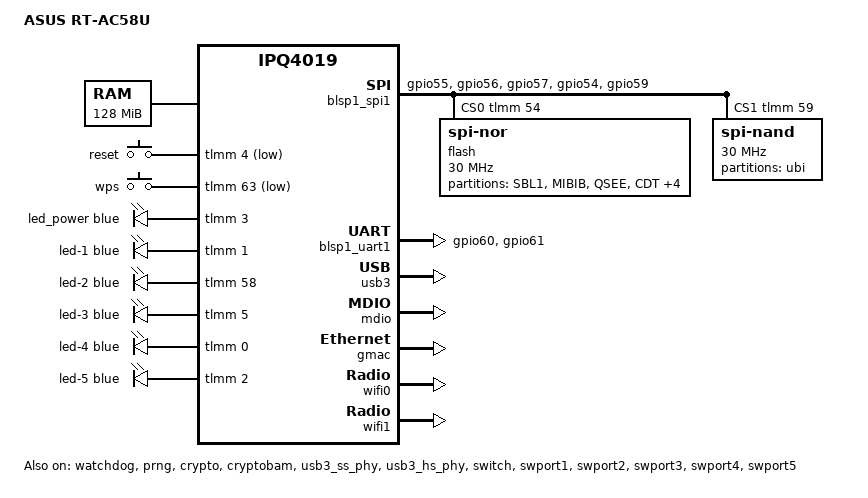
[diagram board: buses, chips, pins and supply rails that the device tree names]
// SPDX-License-Identifier: GPL-2.0-or-later OR MIT

#include "qcom-ipq4019.dtsi"
#include <dt-bindings/gpio/gpio.h>
#include <dt-bindings/input/input.h>
#include <dt-bindings/soc/qcom,tcsr.h>
#include <dt-bindings/leds/common.h>

/ {
	model = "ASUS RT-AC58U";
	compatible = "asus,rt-ac58u";

	memory {
		device_type = "memory";
		reg = <0x80000000 0x8000000>;
	};

	aliases {
		led-boot = &led_power;
		led-failsafe = &led_power;
		led-running = &led_power;
		led-upgrade = &led_power;
		label-mac-device = &swport5;
	};

	soc {
		tcsr@1949000 {
			compatible = "qcom,tcsr";
			reg = <0x1949000 0x100>;
			qcom,wifi_glb_cfg = <TCSR_WIFI_GLB_CFG>;
		};

		tcsr@194b000 {
			compatible = "qcom,tcsr";
			reg = <0x194b000 0x100>;
			qcom,usb-hsphy-mode-select = <TCSR_USB_HSPHY_HOST_MODE>;
		};

		ess_tcsr@1953000 {
			compatible = "qcom,tcsr";
			reg = <0x1953000 0x1000>;
			qcom,ess-interface-select = <TCSR_ESS_PSGMII>;
		};

		tcsr@1957000 {
			compatible = "qcom,tcsr";
			reg = <0x1957000 0x100>;
			qcom,wifi_noc_memtype_m0_m2 = <TCSR_WIFI_NOC_MEMTYPE_M0_M2>;
		};
	};

	keys {
		compatible = "gpio-keys";

		reset {
			label = "reset";
			gpios = <&tlmm 4 GPIO_ACTIVE_LOW>;
			linux,code = <KEY_RESTART>;
		};

		wps {
			label = "wps";
			gpios = <&tlmm 63 GPIO_ACTIVE_LOW>;
			linux,code = <KEY_WPS_BUTTON>;
		};
	};

	leds {
		compatible = "gpio-leds";

		led_power: led-0 {
			color = <LED_COLOR_ID_BLUE>;
			function = LED_FUNCTION_POWER;
			gpios = <&tlmm 3 GPIO_ACTIVE_HIGH>;
			panic-indicator;
		};

		led-1 {
			color = <LED_COLOR_ID_BLUE>;
			function = LED_FUNCTION_WAN;
			gpios = <&tlmm 1 GPIO_ACTIVE_HIGH>;
			/*
			 * linux,default-trigger = "90000.mdio-1:04:link";
			 * sadly still lacks rx+tx
			 */
		};

		led-2 {
			color = <LED_COLOR_ID_BLUE>;
			function = LED_FUNCTION_WLAN;
			function-enumerator = <2>;
			gpios = <&tlmm 58 GPIO_ACTIVE_HIGH>;
			linux,default-trigger = "phy0tpt";
		};

		led-3 {
			color = <LED_COLOR_ID_BLUE>;
			function = LED_FUNCTION_WLAN;
			function-enumerator = <5>;
			gpios = <&tlmm 5 GPIO_ACTIVE_HIGH>;
			linux,default-trigger = "phy1tpt";
		};

		led-4 {
			color = <LED_COLOR_ID_BLUE>;
			function = LED_FUNCTION_USB;
			gpios = <&tlmm 0 GPIO_ACTIVE_HIGH>;
			trigger-sources = <&usb3_port1>, <&usb3_port2>;
			linux,default-trigger = "usbport";
		};

		led-5 {
			color = <LED_COLOR_ID_BLUE>;
			function = LED_FUNCTION_LAN;
			gpios = <&tlmm 2 GPIO_ACTIVE_HIGH>;
		};
	};
};

&watchdog {
	status = "okay";
};

&prng {
	status = "okay";
};

&crypto {
	status = "okay";
};

&cryptobam {
	status = "okay";
};

&blsp_dma {
	status = "okay";
};

&tlmm {
	serial_pins: serial_pinmux {
		mux {
			pins = "gpio60", "gpio61";
			function = "blsp_uart0";
			bias-disable;
		};
	};

	spi_0_pins: spi_0_pinmux {
		mux {
			function = "blsp_spi0";
			pins = "gpio55", "gpio56", "gpio57";
			drive-strength = <12>;
			bias-disable;
		};

		mux_cs {
			function = "gpio";
			pins = "gpio54", "gpio59";
			drive-strength = <2>;
			bias-disable;
			output-high;
		};
	};
};

&blsp1_spi1 { /* BLSP1 QUP1 */
	pinctrl-0 = <&spi_0_pins>;
	pinctrl-names = "default";
	status = "okay";
	cs-gpios = <&tlmm 54 GPIO_ACTIVE_HIGH>,
		   <&tlmm 59 GPIO_ACTIVE_HIGH>;

	flash@0 {
		/*
		 * U-boot looks for "n25q128a11" node,
		 * if we don't have it, it will spit out the following warning:
		 * "ipq: fdt fixup unable to find compatible node".
		 */
		compatible = "jedec,spi-nor";
		reg = <0>;
		linux,modalias = "m25p80", "mx25l1606e", "n25q128a11";
		spi-max-frequency = <30000000>;

		partitions {
			compatible = "fixed-partitions";
			#address-cells = <1>;
			#size-cells = <1>;

			partition@0 {
				label = "SBL1";
				reg = <0x00000000 0x00040000>;
				read-only;
			};
			partition@40000 {
				label = "MIBIB";
				reg = <0x00040000 0x00020000>;
				read-only;
			};
			partition@60000 {
				label = "QSEE";
				reg = <0x00060000 0x00060000>;
				read-only;
			};
			partition@c0000 {
				label = "CDT";
				reg = <0x000c0000 0x00010000>;
				read-only;
			};
			partition@d0000 {
				label = "DDRPARAMS";
				reg = <0x000d0000 0x00010000>;
				read-only;
			};
			partition@e0000 {
				label = "APPSBLENV"; /* uboot env*/
				reg = <0x000e0000 0x00010000>;
				read-only;
			};
			partition@f0000 {
				label = "APPSBL"; /* uboot */
				reg = <0x000f0000 0x00080000>;
				read-only;
			};
			partition@170000 {
				label = "ART";
				reg = <0x00170000 0x00010000>;
				read-only;
			};
			/* 0x00180000 - 0x00200000 unused */
		};
	};

	spi-nand@1 {
		compatible = "spi-nand";
		reg = <1>;
		spi-max-frequency = <30000000>;

		/*
		 * U-boot looks for "spinand,mt29f" node,
		 * if we don't have it, it will spit out the following warning:
		 * "ipq: fdt fixup unable to find compatible node".
		 */

		partitions {
			compatible = "fixed-partitions";
			#address-cells = <1>;
			#size-cells = <1>;

			partition@0 {
				compatible = "linux,ubi";
				reg = <0x00000000 0x08000000>;
				label = "ubi";

				volumes {
					ubi_factory: ubi-volume-factory {
						volname = "Factory";
					};
				};
			};
		};
	};
};

&ubi_factory {
	nvmem-layout {
		compatible = "fixed-layout";
		#address-cells = <1>;
		#size-cells = <1>;

		precal_factory_1000: precal@1000 {
			reg = <0x1000 0x2f20>;
		};

		macaddr_factory_1006: macaddr@1006 {
			reg = <0x1006 0x6>;
		};

		precal_factory_5000: precal@5000 {
			reg = <0x5000 0x2f20>;
		};

		macaddr_factory_5006: macaddr@5006 {
			reg = <0x5006 0x6>;
		};
	};
};

&blsp1_uart1 {
	pinctrl-0 = <&serial_pins>;
	pinctrl-names = "default";
	status = "okay";
};

&usb3_ss_phy {
	status = "okay";
};

&usb3_hs_phy {
	status = "okay";
};

&usb3 {
	status = "okay";
};

&usb3_dwc {
	#address-cells = <1>;
	#size-cells = <0>;

	usb3_port1: port@1 {
		reg = <1>;
		#trigger-source-cells = <0>;
	};

	usb3_port2: port@2 {
		reg = <2>;
		#trigger-source-cells = <0>;
	};
};

&mdio {
	status = "okay";
};

&gmac {
	status = "okay";
	nvmem-cells = <&macaddr_factory_5006>;
	nvmem-cell-names = "mac-address";
};

&switch {
	status = "okay";
};

&swport1 {
	status = "okay";
};

&swport2 {
	status = "okay";
};

&swport3 {
	status = "okay";
};

&swport4 {
	status = "okay";
};

&swport5 {
	status = "okay";
	nvmem-cells = <&macaddr_factory_1006>;
	nvmem-cell-names = "mac-address";
};

&wifi0 {
	status = "okay";
	nvmem-cell-names = "pre-calibration";
	nvmem-cells = <&precal_factory_1000>;
	qcom,ath10k-calibration-variant = "RT-AC58U";
};

&wifi1 {
	status = "okay";
	nvmem-cell-names = "pre-calibration";
	nvmem-cells = <&precal_factory_5000>;
	qcom,ath10k-calibration-variant = "RT-AC58U";
};
